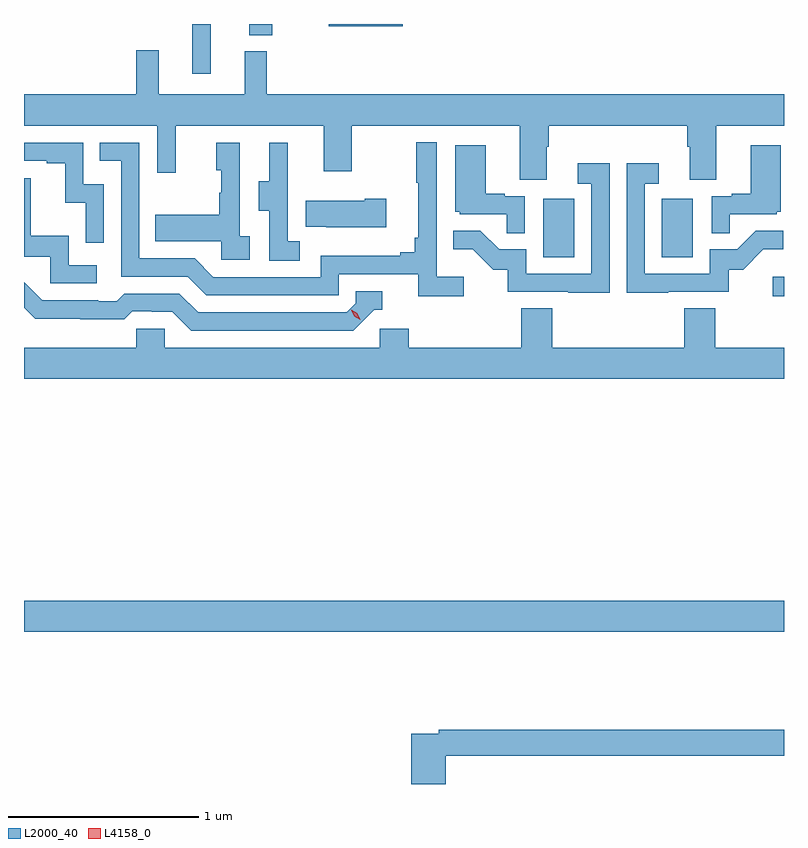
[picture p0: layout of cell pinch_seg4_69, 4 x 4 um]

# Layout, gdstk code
import gdstk
lib = gdstk.Library(unit=1e-6, precision=1e-09)
def R(c, l, rs):  # rectangles x0, y0, x1, y1
    for r in rs: c.add(gdstk.rectangle(r[:2], r[2:], *l))
def P(c, l, *ps):  # polygons
    for p in ps: c.add(gdstk.Polygon(p, *l))
L2000_40 = (2000, 40)
L4158_0 = (4158, 0)

pinch_seg4_69 = lib.new_cell('pinch_seg4_69')
R(pinch_seg4_69, L2000_40, [(1035.533,819.464,1039.533,819.628), (1039.473,821.23,1039.533,821.332), (1038.266,821.436,1038.43,821.743), (1038.89,821.436,1039.054,821.743), (1036.418,822.402,1036.515,822.663), (1036.718,822.605,1036.84,822.663), (1037.138,822.652,1037.527,822.663)])
P(pinch_seg4_69, L2000_40, [(1038.283,822.016),(1038.296,822.016),(1038.296,822.128),(1039.025,822.128),(1039.025,822.016),(1039.037,822.016),(1039.037,821.842),(1039.177,821.842),(1039.177,822.128),(1039.533,822.128),(1039.533,822.292),(1036.811,822.292),(1036.811,822.52),(1036.694,822.52),(1036.694,822.292),(1036.241,822.292),(1036.241,822.526),(1036.123,822.526),(1036.123,822.292),(1035.533,822.292),(1035.533,822.128),(1036.233,822.128),(1036.233,821.88),(1036.331,821.88),(1036.331,822.128),(1037.111,822.128),(1037.111,821.889),(1037.259,821.889),(1037.259,822.128),(1038.143,822.128),(1038.143,821.842),(1038.283,821.842)],
  [(1037.848,821.332),(1037.706,821.332),(1037.706,822.04),(1037.598,822.04),(1037.598,821.827),(1037.609,821.827),(1037.609,821.539),(1037.59,821.539),(1037.59,821.462),(1037.513,821.462),(1037.513,821.443),(1037.094,821.443),(1037.094,821.331),(1036.53,821.331),(1036.431,821.43),(1036.14,821.43),(1036.14,822.039),(1035.931,822.039),(1035.931,821.943),(1036.044,821.943),(1036.044,821.334),(1036.394,821.334),(1036.493,821.235),(1037.19,821.235),(1037.19,821.346),(1037.609,821.346),(1037.609,821.23),(1037.848,821.23)],
  [(1035.954,821.82),(1035.846,821.82),(1035.846,822.039),(1035.533,822.039),(1035.533,821.943),(1035.653,821.943),(1035.653,821.931),(1035.749,821.931),(1035.749,821.723),(1035.858,821.723),(1035.858,821.511),(1035.954,821.511)],
  [(1036.72,821.546),(1036.668,821.546),(1036.668,822.037),(1036.544,822.037),(1036.544,821.892),(1036.57,821.892),(1036.57,821.774),(1036.56,821.774),(1036.56,821.659),(1036.225,821.659),(1036.225,821.519),(1036.572,821.519),(1036.572,821.421),(1036.72,821.421)],
  [(1036.984,821.519),(1036.92,821.519),(1036.92,821.823),(1036.922,821.823),(1036.922,822.037),(1036.823,822.037),(1036.823,821.835),(1036.769,821.835),(1036.769,821.68),(1036.824,821.68),(1036.824,821.416),(1036.984,821.416)],
  [(1038.168,821.757),(1038.062,821.757),(1038.062,821.77),(1037.962,821.77),(1037.962,822.025),(1037.804,822.025),(1037.804,821.676),(1037.826,821.676),(1037.826,821.661),(1038.073,821.661),(1038.073,821.563),(1038.168,821.563)],
  [(1039.247,821.661),(1039.494,821.661),(1039.494,821.676),(1039.516,821.676),(1039.516,822.025),(1039.358,822.025),(1039.358,821.77),(1039.259,821.77),(1039.259,821.757),(1039.152,821.757),(1039.152,821.563),(1039.247,821.563)],
  [(1038.923,821.253),(1039.242,821.253),(1039.242,821.37),(1039.318,821.37),(1039.425,821.477),(1039.529,821.477),(1039.529,821.576),(1039.385,821.576),(1039.287,821.478),(1039.143,821.478),(1039.143,821.349),(1038.801,821.349),(1038.801,821.823),(1038.874,821.823),(1038.874,821.929),(1038.705,821.929),(1038.705,821.248),(1038.923,821.248)],
  [(1038.615,821.929),(1038.447,821.929),(1038.447,821.823),(1038.519,821.823),(1038.519,821.349),(1038.177,821.349),(1038.177,821.478),(1038.033,821.478),(1037.935,821.576),(1037.791,821.576),(1037.791,821.477),(1037.895,821.477),(1038.002,821.37),(1038.079,821.37),(1038.079,821.253),(1038.397,821.253),(1038.397,821.248),(1038.615,821.248)],
  [(1035.916,821.394),(1035.768,821.394),(1035.768,821.548),(1035.569,821.548),(1035.569,821.851),(1035.533,821.851),(1035.533,821.439),(1035.672,821.439),(1035.672,821.298),(1035.916,821.298)],
  [(1037.44,821.742),(1037.327,821.742),(1037.327,821.734),(1037.017,821.734),(1037.017,821.597),(1037.125,821.597),(1037.125,821.594),(1037.44,821.594)],
  [(1037.376,821.16),(1037.419,821.16),(1037.419,821.256),(1037.28,821.256),(1037.28,821.193),(1037.232,821.145),(1036.449,821.145),(1036.35,821.244),(1036.061,821.244),(1036.022,821.205),(1035.923,821.205),(1035.923,821.208),(1035.63,821.208),(1035.533,821.305),(1035.533,821.17),(1035.592,821.111),(1035.828,821.111),(1035.828,821.109),(1036.061,821.109),(1036.103,821.151),(1036.206,821.151),(1036.206,821.148),(1036.313,821.148),(1036.412,821.049),(1037.265,821.049)],
  [(1039.533,820.96),(1039.172,820.96),(1039.172,821.168),(1039.007,821.168),(1039.007,820.96),(1038.314,820.96),(1038.314,821.168),(1038.149,821.168),(1038.149,820.96),(1037.558,820.96),(1037.558,821.058),(1037.406,821.058),(1037.406,820.96),(1036.275,820.96),(1036.275,821.058),(1036.125,821.058),(1036.125,820.96),(1035.533,820.96),(1035.533,820.796),(1039.533,820.796)],
  [(1037.753,818.812),(1039.533,818.812),(1039.533,818.948),(1037.716,818.948),(1037.716,818.928),(1037.57,818.928),(1037.57,818.663),(1037.753,818.663)])
P(pinch_seg4_69, L4158_0, [(1037.303,821.107),(1037.272,821.126),(1037.256,821.159),(1037.256,821.159),(1037.256,821.159),(1037.287,821.14),(1037.303,821.107),(1037.303,821.107)])

lib.write_gds('pinch_seg4_69.gds')
